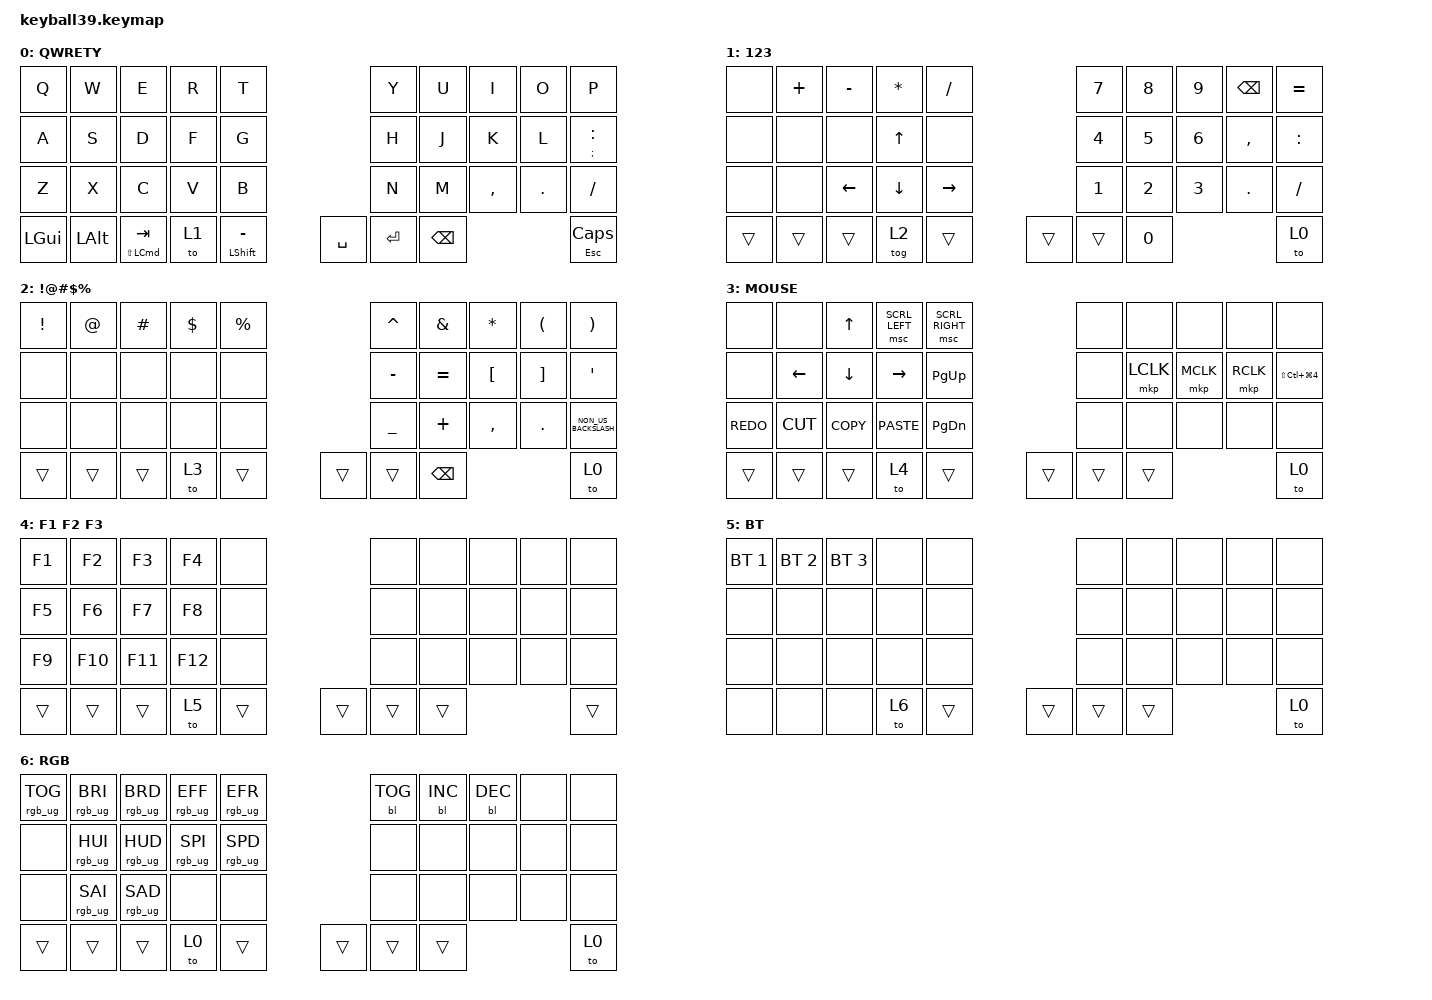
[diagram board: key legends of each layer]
#define DEFAULT 0
#define NUM     1
#define SYM     2
#define FUN     3
#define MOUSE   4
#define SCROLL  5
#define SNIPE   6

#include <behaviors/mouse_keys.dtsi>
#include <dt-bindings/zmk/mouse.h>
#include <behaviors.dtsi>
#include <dt-bindings/zmk/backlight.h>
#include <dt-bindings/zmk/bt.h>
#include <dt-bindings/zmk/keys.h>
#include <dt-bindings/zmk/pointing.h>
#include <dt-bindings/zmk/rgb.h>

&lt {
    tapping-term-ms = <240>;
    flavor = "balanced";
    quick-tap-ms = <150>;
};

&mt {
    tapping-term-ms = <200>;
    flavor = "tap-preferred";
    quick-tap-ms = <150>;
};

&caps_word { continue-list = <UNDERSCORE MINUS>; };

/ {
    // custom shift using mod-morph 

    behaviors {
        cmqus: comma_question {
            compatible = "zmk,behavior-mod-morph";
            label = "COMMA_QUESTION";
            #binding-cells = <0>;
            bindings = <&kp COMMA>, <&kp QUESTION>;

            mods = <(MOD_LSFT|MOD_RSFT)>;
        };

        dtsmi: dot_semi {
            compatible = "zmk,behavior-mod-morph";
            label = "DOT_SEMI";
            #binding-cells = <0>;
            bindings = <&kp DOT>, <&kp SEMI>;

            mods = <(MOD_LSFT|MOD_RSFT)>;
        };
    };

    macros {
        Hiragana: Hiragana {
            compatible = "zmk,behavior-macro";
            #binding-cells = <0>;
            bindings = <&kp LC(SPACE)>;
            label = "HIRAGANA";
        };
    };

    keymap {
        compatible = "zmk,keymap";

        default_layer {
            label = "QWRETY";
            bindings = <
&kp Q         &kp W     &kp E                     &kp R  &kp T                                       &kp Y          &kp U  &kp I      &kp O    &kp P
&kp A         &kp S     &kp D                     &kp F  &kp G                                       &kp H          &kp J  &kp K      &kp L    &mt SEMI COLON
&kp Z         &kp X     &kp C                     &kp V  &kp B                                       &kp N          &kp M  &kp COMMA  &kp DOT  &kp SLASH
&kp LEFT_GUI  &kp LALT  &mt LS(LEFT_COMMAND) TAB  &to 1  &mt LEFT_SHIFT MINUS  &kp SPACE  &kp ENTER  &kp BACKSPACE                             &mt ESCAPE CAPS
            >;
        };

        number_layer {
            label = "123";
            bindings = <
&none   &kp PLUS  &kp MINUS       &kp ASTERISK    &kp SLASH                        &kp NUMBER_7  &kp NUMBER_8  &kp NUMBER_9  &kp BACKSPACE  &kp EQUAL
&none   &none     &none           &kp UP_ARROW    &none                            &kp NUMBER_4  &kp NUMBER_5  &kp NUMBER_6  &kp COMMA      &kp COLON
&none   &none     &kp LEFT_ARROW  &kp DOWN_ARROW  &kp RIGHT_ARROW                  &kp NUMBER_1  &kp NUMBER_2  &kp NUMBER_3  &kp PERIOD     &kp SLASH
&trans  &trans    &trans          &tog 2          &trans           &trans  &trans  &kp NUMBER_0                                             &to 0
            >;
        };

        symbol_layer {
            label = "!@#$%";
            bindings = <
&kp EXCLAMATION  &kp AT_SIGN  &kp HASH  &kp DOLLAR  &kp PERCENT                  &kp CARET       &kp AMPERSAND  &kp ASTERISK      &kp LEFT_PARENTHESIS  &kp RIGHT_PARENTHESIS
&none            &none        &none     &none       &none                        &kp MINUS       &kp EQUAL      &kp LEFT_BRACKET  &kp RIGHT_BRACKET     &kp SQT
&none            &none        &none     &none       &none                        &kp UNDERSCORE  &kp PLUS       &kp COMMA         &kp PERIOD            &kp NON_US_BACKSLASH
&trans           &trans       &trans    &to 3       &trans       &trans  &trans  &kp BACKSPACE                                                          &to 0
            >;
        };

        mouse_layer {
            label = "MOUSE";
            bindings = <
&none       &none           &kp UP_ARROW    &msc SCRL_LEFT  &msc SCRL_RIGHT                  &none   &none      &none      &none      &none
&none       &kp LEFT_ARROW  &kp DOWN_ARROW  &kp RIGHT       &kp PAGE_UP                      &none   &mkp LCLK  &mkp MCLK  &mkp RCLK  &kp LS(LC(LG(NUMBER_4)))
&kp K_REDO  &kp K_CUT       &kp K_COPY      &kp K_PASTE     &kp PAGE_DOWN                    &none   &none      &none      &none      &none
&trans      &trans          &trans          &to 4           &trans           &trans  &trans  &trans                                   &to 0
            >;
        };

        function_layer {
            label = "F1 F2 F3";
            bindings = <
&kp F1  &kp F2   &kp F3   &kp F4   &none                   &none   &none  &none  &none  &none
&kp F5  &kp F6   &kp F7   &kp F8   &none                   &none   &none  &none  &none  &none
&kp F9  &kp F10  &kp F11  &kp F12  &none                   &none   &none  &none  &none  &none
&trans  &trans   &trans   &to 5    &trans  &trans  &trans  &trans                       &trans
            >;
        };

        BT_layer {
            label = "BT";
            bindings = <
&bt BT_SEL 1  &bt BT_SEL 2  &bt BT_SEL 3  &none  &none                   &none   &none  &none  &none  &none
&none         &none         &none         &none  &none                   &none   &none  &none  &none  &none
&none         &none         &none         &none  &none                   &none   &none  &none  &none  &none
&none         &none         &none         &to 6  &trans  &trans  &trans  &trans                       &to 0
            >;
        };

        RGB_layer {
            label = "RGB";
            bindings = <
&rgb_ug RGB_TOG  &rgb_ug RGB_BRI  &rgb_ug RGB_BRD  &rgb_ug RGB_EFF  &rgb_ug RGB_EFR                  &bl BL_TOG  &bl BL_INC  &bl BL_DEC  &none  &none
&none            &rgb_ug RGB_HUI  &rgb_ug RGB_HUD  &rgb_ug RGB_SPI  &rgb_ug RGB_SPD                  &none       &none       &none       &none  &none
&none            &rgb_ug RGB_SAI  &rgb_ug RGB_SAD  &none            &none                            &none       &none       &none       &none  &none
&trans           &trans           &trans           &to 0            &trans           &trans  &trans  &trans                                     &to 0
            >;
        };
    };
};
